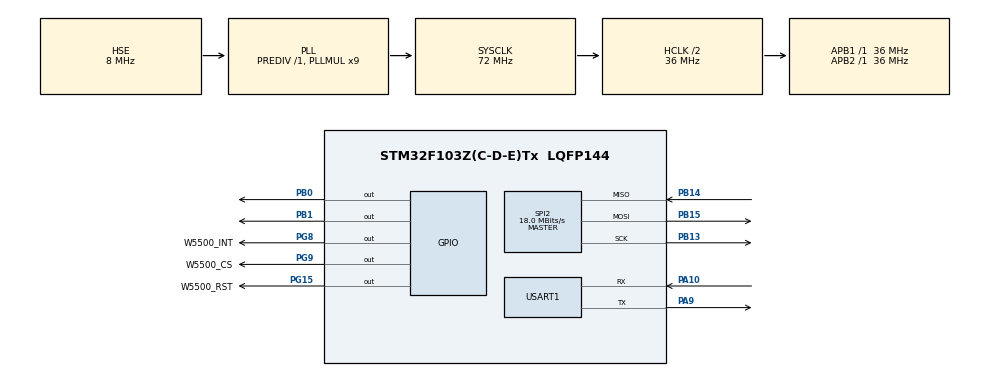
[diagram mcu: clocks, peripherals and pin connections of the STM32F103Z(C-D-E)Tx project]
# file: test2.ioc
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FREERTOS.Tasks01=defaultTask,24,128,StartDefaultTask,Default,NULL,Dynamic,NULL,NULL
Mcu.Family=STM32F1
Mcu.Name=STM32F103Z(C-D-E)Tx
Mcu.Package=LQFP144
NVIC.PriorityGroup=NVIC_PRIORITYGROUP_4
NVIC.TIM2_IRQn=true\:15\:0\:false\:false\:true\:false\:false\:true\:true
NVIC.TimeBase=TIM2_IRQn
NVIC.TimeBaseIP=TIM2
OSC_IN.Mode=HSE-External-Oscillator
OSC_IN.Signal=RCC_OSC_IN
OSC_OUT.Mode=HSE-External-Oscillator
OSC_OUT.Signal=RCC_OSC_OUT
PA10.Mode=Asynchronous
PA10.Signal=USART1_RX
PA13.Mode=Serial_Wire
PA13.Signal=SYS_JTMS-SWDIO
PA14.Mode=Serial_Wire
PA14.Signal=SYS_JTCK-SWCLK
PA9.Mode=Asynchronous
PA9.Signal=USART1_TX
PB0.PinState=GPIO_PIN_SET
PB0.Signal=GPIO_Output
PB1.PinState=GPIO_PIN_SET
PB1.Signal=GPIO_Output
PB13.Mode=Full_Duplex_Master
PB13.Signal=SPI2_SCK
PB14.Mode=Full_Duplex_Master
PB14.Signal=SPI2_MISO
PB15.Mode=Full_Duplex_Master
PB15.Signal=SPI2_MOSI
PG15.GPIO_Label=W5500_RST
PG15.Signal=GPIO_Output
PG8.GPIO_Label=W5500_INT
PG8.Signal=GPIO_Output
PG9.GPIO_Label=W5500_CS
PG9.Signal=GPIO_Output
ProjectManager.HeapSize=0x200
ProjectManager.StackSize=0x400
ProjectManager.TargetToolchain=Makefile
RCC.AHBCLKDivider=RCC_SYSCLK_DIV2
RCC.AHBFreq_Value=36000000
RCC.APB1Freq_Value=36000000
RCC.APB1TimFreq_Value=36000000
RCC.APB2Freq_Value=36000000
RCC.APB2TimFreq_Value=36000000
RCC.HCLKFreq_Value=36000000
RCC.PLLMUL=RCC_PLL_MUL9
RCC.PLLSourceVirtual=RCC_PLLSOURCE_HSE
RCC.SYSCLKFreq_VALUE=72000000
RCC.SYSCLKSource=RCC_SYSCLKSOURCE_PLLCLK
RCC.USBFreq_Value=72000000
SPI2.CalculateBaudRate=18.0 MBits/s
SPI2.Direction=SPI_DIRECTION_2LINES
SPI2.Mode=SPI_MODE_MASTER
SPI2.VirtualType=VM_MASTER
USART1.VirtualMode=VM_ASYNC
VP_FREERTOS_VS_CMSIS_V2.Mode=CMSIS_V2
VP_SYS_VS_tim2.Mode=TIM2
board=custom

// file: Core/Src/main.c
/* USER CODE BEGIN Header */
/**
  ******************************************************************************
  * @file           : main.c
  * @brief          : Main program body
  ******************************************************************************
  * @attention
  *
  * Copyright (c) 2024 STMicroelectronics.
  * All rights reserved.
  *
  * This software is licensed under terms that can be found in the LICENSE file
  * in the root directory of this software component.
  * If no LICENSE file comes with this software, it is provided AS-IS.
  *
  ******************************************************************************
  */
/* USER CODE END Header */
#include "main.h"
#include "cmsis_os.h"
#include "spi.h"
#include "usart.h"
#include "gpio.h"

/* USER CODE BEGIN Includes */
#include "MyUDP.h"

/* USER CODE END Includes */

void SystemClock_Config(void);
void MX_FREERTOS_Init(void);

int main(void)
{

  /* MCU Configuration--------------------------------------------------------*/

  /* Reset of all peripherals, Initializes the Flash interface and the Systick. */
  HAL_Init();

  /* Configure the system clock */
  SystemClock_Config();

  /* Initialize all configured peripherals */
  MX_GPIO_Init();
  MX_USART1_UART_Init();
  MX_SPI2_Init();
  /* USER CODE BEGIN 2 */

  // w5500_main();
  // UDPinit();

  /* USER CODE END 2 */

  /* Init scheduler */
  osKernelInitialize();

  /* Call init function for freertos objects (in cmsis_os2.c) */
  MX_FREERTOS_Init();

  /* Start scheduler */
  osKernelStart();

  /* We should never get here as control is now taken by the scheduler */

  /* Infinite loop */
  while (1)
  {

    /* USER CODE BEGIN 3 */
    do_udp1();
    HAL_GPIO_TogglePin(GPIOB, GPIO_PIN_0);
    HAL_Delay(1000);
  }
  /* USER CODE END 3 */
}

void SystemClock_Config(void)
{
  RCC_OscInitTypeDef RCC_OscInitStruct = {0};
  RCC_ClkInitTypeDef RCC_ClkInitStruct = {0};

  /** Initializes the RCC Oscillators according to the specified parameters
  * in the RCC_OscInitTypeDef structure.
  */
  RCC_OscInitStruct.OscillatorType = RCC_OSCILLATORTYPE_HSE;
  RCC_OscInitStruct.HSEState = RCC_HSE_ON;
  RCC_OscInitStruct.HSEPredivValue = RCC_HSE_PREDIV_DIV1;
  RCC_OscInitStruct.HSIState = RCC_HSI_ON;
  RCC_OscInitStruct.PLL.PLLState = RCC_PLL_ON;
  RCC_OscInitStruct.PLL.PLLSource = RCC_PLLSOURCE_HSE;
  RCC_OscInitStruct.PLL.PLLMUL = RCC_PLL_MUL9;
  if (HAL_RCC_OscConfig(&RCC_OscInitStruct) != HAL_OK)
  {
    Error_Handler();
  }

  /** Initializes the CPU, AHB and APB buses clocks
  */
  RCC_ClkInitStruct.ClockType = RCC_CLOCKTYPE_HCLK|RCC_CLOCKTYPE_SYSCLK
                              |RCC_CLOCKTYPE_PCLK1|RCC_CLOCKTYPE_PCLK2;
  RCC_ClkInitStruct.SYSCLKSource = RCC_SYSCLKSOURCE_PLLCLK;
  RCC_ClkInitStruct.AHBCLKDivider = RCC_SYSCLK_DIV2;
  RCC_ClkInitStruct.APB1CLKDivider = RCC_HCLK_DIV1;
  RCC_ClkInitStruct.APB2CLKDivider = RCC_HCLK_DIV1;

  if (HAL_RCC_ClockConfig(&RCC_ClkInitStruct, FLASH_LATENCY_2) != HAL_OK)
  {
    Error_Handler();
  }
}

void HAL_TIM_PeriodElapsedCallback(TIM_HandleTypeDef *htim)
{
  if (htim->Instance == TIM2) {
    HAL_IncTick();
  }
}

void Error_Handler(void)
{
  __disable_irq();
  while (1)
  {
  }
}

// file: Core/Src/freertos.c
/* USER CODE BEGIN Header */
/**
  ******************************************************************************
  * File Name          : freertos.c
  * Description        : Code for freertos applications
  ******************************************************************************
  * @attention
  *
  * Copyright (c) 2024 STMicroelectronics.
  * All rights reserved.
  *
  * This software is licensed under terms that can be found in the LICENSE file
  * in the root directory of this software component.
  * If no LICENSE file comes with this software, it is provided AS-IS.
  *
  ******************************************************************************
  */
/* USER CODE END Header */

#include "FreeRTOS.h"
#include "task.h"
#include "main.h"
#include "cmsis_os.h"

/* USER CODE BEGIN Includes */
#include "usart.h"
#include "MyUDP.h"

/* USER CODE END Includes */

/* Definitions for defaultTask */
osThreadId_t defaultTaskHandle;
const osThreadAttr_t defaultTask_attributes = {
  .name = "defaultTask",
  .stack_size = 128 * 4,
  .priority = (osPriority_t) osPriorityNormal,
};

/* USER CODE BEGIN FunctionPrototypes */
void task0(void);
void w5500_task(void);
/* USER CODE END FunctionPrototypes */

void StartDefaultTask(void *argument);

void MX_FREERTOS_Init(void); /* (MISRA C 2004 rule 8.1) */

void MX_FREERTOS_Init(void) {

  /* Create the thread(s) */
  /* creation of defaultTask */
  defaultTaskHandle = osThreadNew(StartDefaultTask, NULL, &defaultTask_attributes);

  /* USER CODE BEGIN RTOS_THREADS */
  /* add threads, ... */
  xTaskCreate(task0, "task0", 128, NULL, osPriorityNormal, NULL);
  xTaskCreate(w5500_main, "task1", 128, NULL, osPriorityNormal, NULL);
  /* USER CODE END RTOS_THREADS */

}

void StartDefaultTask(void *argument)
{
  /* USER CODE BEGIN StartDefaultTask */
  /* Infinite loop */
  for(;;)
  {
    HAL_GPIO_TogglePin(GPIOB, GPIO_PIN_0);
    osDelay(1000);
  }
  /* USER CODE END StartDefaultTask */
}

/* USER CODE BEGIN Application */
void task0(void){
  char str[] = "hello dap!!\n";
  for(;;){
    HAL_UART_Transmit(&huart1, str, sizeof(str)/sizeof(str[0]), HAL_MAX_DELAY);
    vTaskDelay(1000);
  }
}
#define UDP 0
#define UDP1 1
#define TCPS 2
#define TCPS1 3
#define TCPC  4
#define TCPC1 5

void w5500_task(void){
  char str[] = "hello w5500\n";
  char udp[] = "this is udp\n";
  char udp1[] = "this is udp1\n";
  char tcps[] = "this is tcp server\n";
  char tcps1[] = "this is tcp server 1\n";
  char tcpc[] = "this is tcp client\n";
  char tcpc1[] = "this is tcp client1\n";
  int select = 3; // 1:udp1 0:udp
  int procotol = TCPS;

  UDPinit();

  while(1){

    switch(procotol){
      case UDP:
        HAL_UART_Transmit(&huart1, udp, sizeof(udp)/sizeof(udp[0]), HAL_MAX_DELAY);
        do_udp();
        break;
      case UDP1:
        HAL_UART_Transmit(&huart1, udp1, sizeof(udp1)/sizeof(udp1[0]), HAL_MAX_DELAY);
        do_udp1();
        break;
      case TCPS:
        HAL_UART_Transmit(&huart1, tcps, sizeof(tcps)/sizeof(tcps[0]), HAL_MAX_DELAY);
        do_tcp_server();
        break;
      case TCPS1:
        HAL_UART_Transmit(&huart1, tcps1, sizeof(tcps1)/sizeof(tcps1[0]), HAL_MAX_DELAY);
        do_tcp_server1();
        break;
      case TCPC:
        HAL_UART_Transmit(&huart1, tcpc, sizeof(tcpc)/sizeof(tcpc[0]), HAL_MAX_DELAY);
        do_tcp_client();
        break;
      case TCPC1:
        HAL_UART_Transmit(&huart1, tcpc1, sizeof(tcpc1)/sizeof(tcpc1[0]), HAL_MAX_DELAY);
        do_tcp_client1();
        vTaskDelay(1000);
        break;
    }

    // vTaskDelay(500);

  }
}
/* USER CODE END Application */
